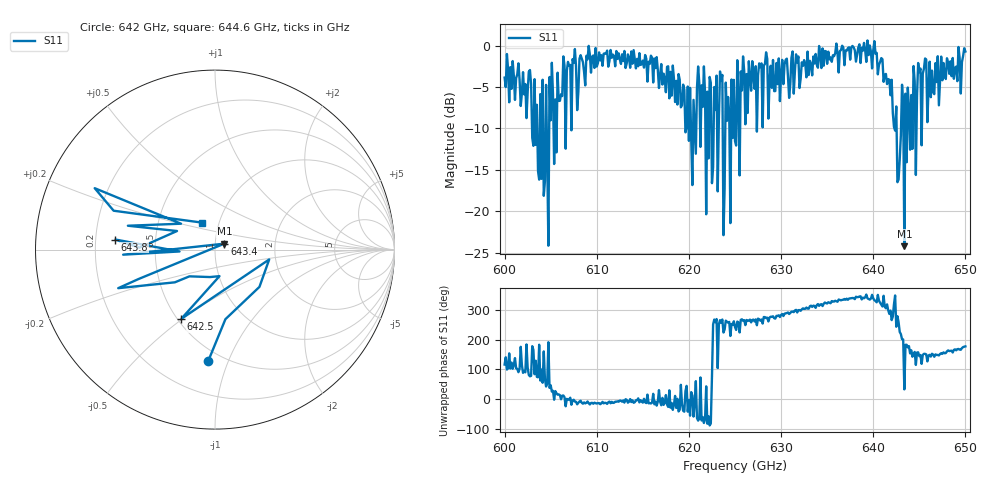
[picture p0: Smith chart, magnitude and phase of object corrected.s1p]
!Created with skrf (http://scikit-rf.org).
# GHz S MA R 50.0
!freq magS11 angS11
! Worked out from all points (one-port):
!   401 points, 600 GHz to 650 GHz, reference 50 ohm
!   lowest |S11| = -24.2 dB at 643.4 GHz (marker M1), VSWR 1.13, Z = 55.4 + j3.68 ohm
!   |S11| at or under -10 dB: 602.9779 GHz to 603.1576 GHz (179.6 MHz wide, 0.0298 % of centre); 603.5447 GHz to 603.8248 GHz (280.1 MHz wide, 0.0464 % of centre); 642.5364 GHz to 643.0164 GHz (480 MHz wide, 0.0747 % of centre) (the widest 3 of 33)
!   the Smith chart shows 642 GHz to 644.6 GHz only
!   S11 on the Smith chart (normalised r, x): 642 GHz: 0.42, -0.85; 642.5 GHz: 0.52, -0.49; 643.4 GHz: 1.11, +0.07; 643.8 GHz: 0.28, +0.05; 644.6 GHz: 0.83, +0.26
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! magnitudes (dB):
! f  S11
! 600 GHz  -3.9
! 602.6 GHz  -3.2
! 603.8 GHz  -16.2
! 604.4 GHz  -16.4
! 604.5 GHz  -4.7
! 605.1 GHz  -2.1
! 605.6 GHz  -12.9
! 606.2 GHz  -6.1
! 612.5 GHz  -1.7
! 618.8 GHz  -7.1
! 620.5 GHz  -6.6
! 621.1 GHz  -4.5
! 622.4 GHz  -4.5
! 623.4 GHz  -3.1
! 624 GHz  -4.5
! 624.1 GHz  -9.1
! 624.8 GHz  -11.1
! 625 GHz  -11.5
! 626.8 GHz  -5.4
! 631.2 GHz  -0.7
! 637.5 GHz  -1.7
! 640.2 GHz  -1.0
! 642 GHz  -4.1
! 642.5 GHz  -7.3
! 643.4 GHz  -24.2
! 643.8 GHz  -5.1
! 644.6 GHz  -15.6
! 650 GHz  -0.7
